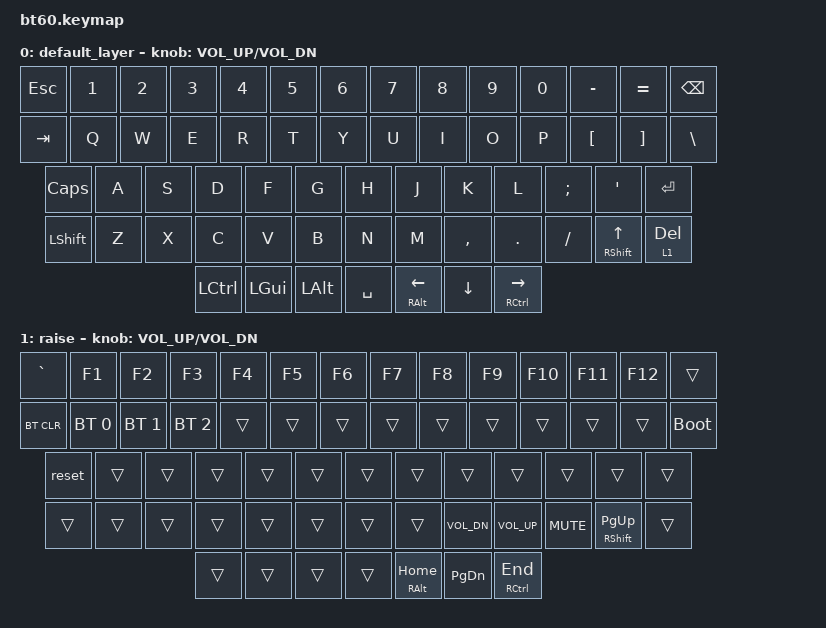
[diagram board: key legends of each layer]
#include <behaviors.dtsi>
#include <dt-bindings/zmk/keys.h>
#include <dt-bindings/zmk/bt.h>

/ {
	keymap {
		compatible = "zmk,keymap";

		default_layer {
				// ------------------------------------------------------------------------------------------
				// | ESC |  1  |  2  |  3  |  4  |  5  |  6  |  7  |  8  |  9  |  0  |  -  |  =  |   BKSP   |
				// | TAB  |  Q  |  W  |  E  |  R  |  T  |  Y  |  U  |  I  |  O  |  P  |  [  |  ]  |   |    |
				// | CAPS  |  A  |  S  |  D  |  F  |  G  |  H  |  J  |  K  |  L  |  ;  |  '  |     ENTER    |
				// |  SHIFT    |  Z  |  X  |  C  |  V  |  B  |  N  |  M  |  ,  |  .  | /   |      SHIFT     |
				// |  CTL  |  WIN  |  ALT  |            SPACE               | ALT | 1    |  MENU    |  CTRL    |
				// ------------------------------------------------------------------------------------------
			bindings = <
				&kp ESC &kp N1 &kp N2 &kp N3 &kp N4 &kp N5 &kp N6 &kp N7 &kp  N8   &kp  N9 &kp  N0  &kp MINUS &kp EQUAL &kp BSPC
				&kp TAB  &kp Q  &kp W  &kp E  &kp R  &kp T  &kp Y  &kp U  &kp  I    &kp  O  &kp  P   &kp LBKT &kp RBKT  &kp BSLH
				&kp CLCK  &kp A  &kp S  &kp D  &kp F  &kp G  &kp H  &kp J  &kp  K    &kp  L  &kp SEMI &kp SQT           &kp RET
				&kp LSHFT  &kp Z  &kp X  &kp C  &kp V  &kp B  &kp N  &kp M  &kp COMMA &kp DOT &kp FSLH             &mt RSHFT UP &lt 1 DEL
				&kp LCTRL &kp LGUI &kp LALT            &kp SPACE                          &mt RALT LEFT &kp DOWN &mt RCTRL RIGHT
			>;
			sensor-bindings = <&inc_dec_kp C_VOL_UP C_VOL_DN>;
		};
		raise {
			bindings = <
				&kp GRAVE &kp F1 &kp F2 &kp F3 &kp F4 &kp F5 &kp F6 &kp F7 &kp  F8   &kp  F9 &kp  F10  &kp F11 &kp F12   &trans
				&bt BT_CLR &bt BT_SEL 0 &bt BT_SEL 1 &bt BT_SEL 2 &trans &trans &trans &trans &trans &trans &trans &trans &trans &bootloader
				&reset  &trans &trans &trans &trans &trans &trans &trans &trans &trans &trans  &trans   &trans
				&trans &trans &trans &trans &trans &trans &trans &trans &kp C_VOL_DN &kp C_VOL_UP &kp C_MUTE  &mt RSHFT PG_UP &trans
				&trans &trans &trans              &trans                             &mt RALT HOME &kp PG_DN &mt RCTRL END
			>;
			sensor-bindings = <&inc_dec_kp C_VOL_UP C_VOL_DN>;
		};
	};
};
